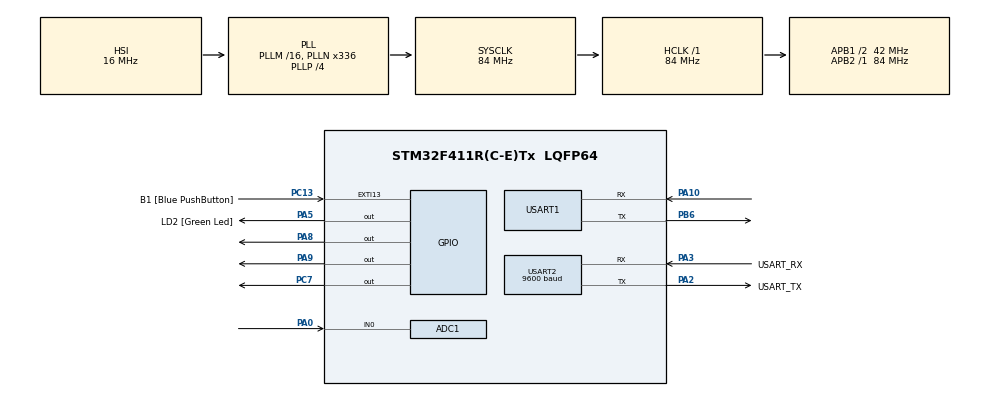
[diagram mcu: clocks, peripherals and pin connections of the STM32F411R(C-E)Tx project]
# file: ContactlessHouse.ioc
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ADC1.Channel-3\#ChannelRegularConversion=ADC_CHANNEL_0
ADC1.NbrOfConversionFlag=1
ADC1.Rank-3\#ChannelRegularConversion=1
ADC1.SamplingTime-3\#ChannelRegularConversion=ADC_SAMPLETIME_3CYCLES
ADC1.master=1
Mcu.Family=STM32F4
Mcu.Name=STM32F411R(C-E)Tx
Mcu.Package=LQFP64
NVIC.PriorityGroup=NVIC_PRIORITYGROUP_0
NVIC.TIM1_UP_TIM10_IRQn=true\:0\:0\:false\:false\:true\:true\:true
NVIC.USART1_IRQn=true\:0\:0\:false\:false\:true\:true\:true
PA0-WKUP.Signal=ADCx_IN0
PA10.Mode=Asynchronous
PA10.Signal=USART1_RX
PA13.GPIO_Label=TMS
PA13.Mode=Serial_Wire
PA13.Signal=SYS_JTMS-SWDIO
PA14.GPIO_Label=TCK
PA14.Mode=Serial_Wire
PA14.Signal=SYS_JTCK-SWCLK
PA2.GPIO_Label=USART_TX
PA2.Mode=Asynchronous
PA2.Signal=USART2_TX
PA3.GPIO_Label=USART_RX
PA3.Mode=Asynchronous
PA3.Signal=USART2_RX
PA5.GPIO_Label=LD2 [Green Led]
PA5.Signal=GPIO_Output
PA8.Signal=GPIO_Output
PA9.Signal=GPIO_Output
PB3.GPIO_Label=SWO
PB3.Signal=SYS_JTDO-SWO
PB6.Mode=Asynchronous
PB6.Signal=USART1_TX
PC13-ANTI_TAMP.GPIO_Label=B1 [Blue PushButton]
PC13-ANTI_TAMP.GPIO_ModeDefaultEXTI=GPIO_MODE_IT_FALLING
PC13-ANTI_TAMP.Signal=GPXTI13
PC14-OSC32_IN.Mode=LSE-External-Oscillator
PC14-OSC32_IN.Signal=RCC_OSC32_IN
PC15-OSC32_OUT.Mode=LSE-External-Oscillator
PC15-OSC32_OUT.Signal=RCC_OSC32_OUT
PC7.Signal=GPIO_Output
PH0\ -\ OSC_IN.Mode=HSE-External-Clock-Source
PH0\ -\ OSC_IN.Signal=RCC_OSC_IN
PH1\ -\ OSC_OUT.Mode=HSE-External-Clock-Source
PH1\ -\ OSC_OUT.Signal=RCC_OSC_OUT
ProjectManager.HeapSize=0x200
ProjectManager.StackSize=0x400
ProjectManager.TargetToolchain=STM32CubeIDE
RCC.48MHZClocksFreq_Value=84000000
RCC.AHBFreq_Value=84000000
RCC.APB1CLKDivider=RCC_HCLK_DIV2
RCC.APB1Freq_Value=42000000
RCC.APB1TimFreq_Value=84000000
RCC.APB2Freq_Value=84000000
RCC.APB2TimFreq_Value=84000000
RCC.CortexFreq_Value=84000000
RCC.FLatency-AdvancedSettings=FLASH_LATENCY_2
RCC.HCLKFreq_Value=84000000
RCC.HSE_VALUE=8000000
RCC.HSI_VALUE=16000000
RCC.PLLN=336
RCC.PLLP=RCC_PLLP_DIV4
RCC.SYSCLKFreq_VALUE=84000000
RCC.SYSCLKSource=RCC_SYSCLKSOURCE_PLLCLK
RCC.VCOOutputFreq_Value=336000000
SH.ADCx_IN0.0=ADC1_IN0,IN0
TIM10.Period=20000-1
TIM10.Prescaler=8400-1
USART1.VirtualMode=VM_ASYNC
USART2.BaudRate=9600
USART2.VirtualMode=VM_ASYNC
VP_TIM10_VS_ClockSourceINT.Mode=Enable_Timer
board=NUCLEO-F411RE

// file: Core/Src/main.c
/* USER CODE BEGIN Header */
/**
  ******************************************************************************
  * @file           : main.c
  * @brief          : Main program body
  ******************************************************************************
  * @attention
  *
  * <h2><center>&copy; Copyright (c) 2021 STMicroelectronics.
  * All rights reserved.</center></h2>
  *
  * This software component is licensed by ST under BSD 3-Clause license,
  * the "License"; You may not use this file except in compliance with the
  * License. You may obtain a copy of the License at:
  *                        opensource.org/licenses/BSD-3-Clause
  *
  ******************************************************************************
  */
/* USER CODE END Header */
#include "main.h"

ADC_HandleTypeDef hadc1;

TIM_HandleTypeDef htim10;

UART_HandleTypeDef huart1;
UART_HandleTypeDef huart2;

/* USER CODE BEGIN PV */
char inBuffer;
char outBuffer[12];
uint32_t ldr_val, mn = 2000, mx = 4095;
uint32_t pdc, p, c;
float temp;
/* USER CODE END PV */

void SystemClock_Config(void);
static void MX_GPIO_Init(void);
static void MX_USART2_UART_Init(void);
static void MX_ADC1_Init(void);
static void MX_USART1_UART_Init(void);
static void MX_TIM10_Init(void);

int main(void)
{

  /* MCU Configuration--------------------------------------------------------*/

  /* Reset of all peripherals, Initializes the Flash interface and the Systick. */
  HAL_Init();

  /* Configure the system clock */
  SystemClock_Config();

  /* Initialize all configured peripherals */
  MX_GPIO_Init();
  MX_USART2_UART_Init();
  MX_ADC1_Init();
  MX_USART1_UART_Init();
  MX_TIM10_Init();
  /* USER CODE BEGIN 2 */

  HAL_UART_Receive_IT(&huart1, &inBuffer, sizeof inBuffer);
  HAL_TIM_Base_Start_IT(&htim10);
  HAL_GPIO_WritePin(GPIOC, GPIO_PIN_7, GPIO_PIN_SET);

  /* USER CODE END 2 */

  /* Infinite loop */
  while (1)
  {

  }
}

void SystemClock_Config(void)
{
  RCC_OscInitTypeDef RCC_OscInitStruct = {0};
  RCC_ClkInitTypeDef RCC_ClkInitStruct = {0};

  /** Configure the main internal regulator output voltage
  */
  __HAL_RCC_PWR_CLK_ENABLE();
  __HAL_PWR_VOLTAGESCALING_CONFIG(PWR_REGULATOR_VOLTAGE_SCALE1);
  /** Initializes the RCC Oscillators according to the specified parameters
  * in the RCC_OscInitTypeDef structure.
  */
  RCC_OscInitStruct.OscillatorType = RCC_OSCILLATORTYPE_HSI;
  RCC_OscInitStruct.HSIState = RCC_HSI_ON;
  RCC_OscInitStruct.HSICalibrationValue = RCC_HSICALIBRATION_DEFAULT;
  RCC_OscInitStruct.PLL.PLLState = RCC_PLL_ON;
  RCC_OscInitStruct.PLL.PLLSource = RCC_PLLSOURCE_HSI;
  RCC_OscInitStruct.PLL.PLLM = 16;
  RCC_OscInitStruct.PLL.PLLN = 336;
  RCC_OscInitStruct.PLL.PLLP = RCC_PLLP_DIV4;
  RCC_OscInitStruct.PLL.PLLQ = 4;
  if (HAL_RCC_OscConfig(&RCC_OscInitStruct) != HAL_OK)
  {
    Error_Handler();
  }
  /** Initializes the CPU, AHB and APB buses clocks
  */
  RCC_ClkInitStruct.ClockType = RCC_CLOCKTYPE_HCLK|RCC_CLOCKTYPE_SYSCLK
                              |RCC_CLOCKTYPE_PCLK1|RCC_CLOCKTYPE_PCLK2;
  RCC_ClkInitStruct.SYSCLKSource = RCC_SYSCLKSOURCE_PLLCLK;
  RCC_ClkInitStruct.AHBCLKDivider = RCC_SYSCLK_DIV1;
  RCC_ClkInitStruct.APB1CLKDivider = RCC_HCLK_DIV2;
  RCC_ClkInitStruct.APB2CLKDivider = RCC_HCLK_DIV1;

  if (HAL_RCC_ClockConfig(&RCC_ClkInitStruct, FLASH_LATENCY_2) != HAL_OK)
  {
    Error_Handler();
  }
}

static void MX_ADC1_Init(void)
{

  ADC_ChannelConfTypeDef sConfig = {0};

  /** Configure the global features of the ADC (Clock, Resolution, Data Alignment and number of conversion)
  */
  hadc1.Instance = ADC1;
  hadc1.Init.ClockPrescaler = ADC_CLOCK_SYNC_PCLK_DIV4;
  hadc1.Init.Resolution = ADC_RESOLUTION_12B;
  hadc1.Init.ScanConvMode = DISABLE;
  hadc1.Init.ContinuousConvMode = DISABLE;
  hadc1.Init.DiscontinuousConvMode = DISABLE;
  hadc1.Init.ExternalTrigConvEdge = ADC_EXTERNALTRIGCONVEDGE_NONE;
  hadc1.Init.ExternalTrigConv = ADC_SOFTWARE_START;
  hadc1.Init.DataAlign = ADC_DATAALIGN_RIGHT;
  hadc1.Init.NbrOfConversion = 1;
  hadc1.Init.DMAContinuousRequests = DISABLE;
  hadc1.Init.EOCSelection = ADC_EOC_SINGLE_CONV;
  if (HAL_ADC_Init(&hadc1) != HAL_OK)
  {
    Error_Handler();
  }
  /** Configure for the selected ADC regular channel its corresponding rank in the sequencer and its sample time.
  */
  sConfig.Channel = ADC_CHANNEL_0;
  sConfig.Rank = 1;
  sConfig.SamplingTime = ADC_SAMPLETIME_3CYCLES;
  if (HAL_ADC_ConfigChannel(&hadc1, &sConfig) != HAL_OK)
  {
    Error_Handler();
  }

}

static void MX_TIM10_Init(void)
{

  htim10.Instance = TIM10;
  htim10.Init.Prescaler = 8400-1;
  htim10.Init.CounterMode = TIM_COUNTERMODE_UP;
  htim10.Init.Period = 20000-1;
  htim10.Init.ClockDivision = TIM_CLOCKDIVISION_DIV1;
  htim10.Init.AutoReloadPreload = TIM_AUTORELOAD_PRELOAD_DISABLE;
  if (HAL_TIM_Base_Init(&htim10) != HAL_OK)
  {
    Error_Handler();
  }

}

static void MX_USART1_UART_Init(void)
{

  huart1.Instance = USART1;
  huart1.Init.BaudRate = 115200;
  huart1.Init.WordLength = UART_WORDLENGTH_8B;
  huart1.Init.StopBits = UART_STOPBITS_1;
  huart1.Init.Parity = UART_PARITY_NONE;
  huart1.Init.Mode = UART_MODE_TX_RX;
  huart1.Init.HwFlowCtl = UART_HWCONTROL_NONE;
  huart1.Init.OverSampling = UART_OVERSAMPLING_16;
  if (HAL_UART_Init(&huart1) != HAL_OK)
  {
    Error_Handler();
  }

}

static void MX_USART2_UART_Init(void)
{

  huart2.Instance = USART2;
  huart2.Init.BaudRate = 9600;
  huart2.Init.WordLength = UART_WORDLENGTH_8B;
  huart2.Init.StopBits = UART_STOPBITS_1;
  huart2.Init.Parity = UART_PARITY_NONE;
  huart2.Init.Mode = UART_MODE_TX_RX;
  huart2.Init.HwFlowCtl = UART_HWCONTROL_NONE;
  huart2.Init.OverSampling = UART_OVERSAMPLING_16;
  if (HAL_UART_Init(&huart2) != HAL_OK)
  {
    Error_Handler();
  }

}

static void MX_GPIO_Init(void)
{
  GPIO_InitTypeDef GPIO_InitStruct = {0};

  /* GPIO Ports Clock Enable */
  __HAL_RCC_GPIOC_CLK_ENABLE();
  __HAL_RCC_GPIOH_CLK_ENABLE();
  __HAL_RCC_GPIOA_CLK_ENABLE();
  __HAL_RCC_GPIOB_CLK_ENABLE();

  /*Configure GPIO pin Output Level */
  HAL_GPIO_WritePin(GPIOA, LD2_Pin|GPIO_PIN_8|GPIO_PIN_9, GPIO_PIN_RESET);

  /*Configure GPIO pin Output Level */
  HAL_GPIO_WritePin(GPIOC, GPIO_PIN_7, GPIO_PIN_RESET);

  /*Configure GPIO pin : B1_Pin */
  GPIO_InitStruct.Pin = B1_Pin;
  GPIO_InitStruct.Mode = GPIO_MODE_IT_FALLING;
  GPIO_InitStruct.Pull = GPIO_NOPULL;
  HAL_GPIO_Init(B1_GPIO_Port, &GPIO_InitStruct);

  /*Configure GPIO pins : LD2_Pin PA8 PA9 */
  GPIO_InitStruct.Pin = LD2_Pin|GPIO_PIN_8|GPIO_PIN_9;
  GPIO_InitStruct.Mode = GPIO_MODE_OUTPUT_PP;
  GPIO_InitStruct.Pull = GPIO_NOPULL;
  GPIO_InitStruct.Speed = GPIO_SPEED_FREQ_LOW;
  HAL_GPIO_Init(GPIOA, &GPIO_InitStruct);

  /*Configure GPIO pin : PC7 */
  GPIO_InitStruct.Pin = GPIO_PIN_7;
  GPIO_InitStruct.Mode = GPIO_MODE_OUTPUT_PP;
  GPIO_InitStruct.Pull = GPIO_NOPULL;
  GPIO_InitStruct.Speed = GPIO_SPEED_FREQ_LOW;
  HAL_GPIO_Init(GPIOC, &GPIO_InitStruct);

}

/* USER CODE BEGIN 4 */
int max(int a, int b) {
	if(a > b) return a;
	else return b;
}

int min(int a, int b) {
	if(a < b) return a;
	else return b;
}

void HAL_UART_RxCpltCallback(UART_HandleTypeDef *huart)
{
	HAL_GPIO_TogglePin(GPIOA, GPIO_PIN_5);
	int cmd;
	switch(inBuffer) {
	case '1':
		HAL_GPIO_WritePin(GPIOA, GPIO_PIN_9, GPIO_PIN_SET);
		break;
	case '2':
		HAL_GPIO_WritePin(GPIOA, GPIO_PIN_9, GPIO_PIN_RESET);
		break;
	case '3':
		HAL_GPIO_WritePin(GPIOA, GPIO_PIN_8, GPIO_PIN_SET);
		break;
	case '4':
		HAL_GPIO_WritePin(GPIOA, GPIO_PIN_8, GPIO_PIN_RESET);
		break;
	case '5':
		HAL_GPIO_WritePin(GPIOC, GPIO_PIN_7, GPIO_PIN_RESET);
		break;
	case '6':
		HAL_GPIO_WritePin(GPIOC, GPIO_PIN_7, GPIO_PIN_SET);
		break;
	}
//	HAL_UART_Transmit(&huart2, &buffer, 2, 12);
//	HAL_GPIO_TogglePin(GPIOA, GPIO_PIN_8);
    HAL_UART_Receive_IT(&huart1, &inBuffer, sizeof inBuffer);
}

void HAL_TIM_PeriodElapsedCallback(TIM_HandleTypeDef *htim)
{
	if (htim == &htim10) {
		HAL_ADC_Start(&hadc1);
		HAL_ADC_PollForConversion(&hadc1, 1);
		ldr_val = HAL_ADC_GetValue(&hadc1);
		p = mx - ldr_val;
		c = mx - mn;
		temp = (float)p/c * 100.0;
		pdc = min(temp, 100);
//		sprintf(outBuffer, "%d\n", ldr_val);
		sprintf(outBuffer, "%dx", pdc);
		HAL_UART_Transmit(&huart1, outBuffer, sizeof outBuffer, 12);
	}
}
/* USER CODE END 4 */

void Error_Handler(void)
{
  __disable_irq();
  while (1)
  {
  }
}

/************************ (C) COPYRIGHT STMicroelectronics *****END OF FILE****/
